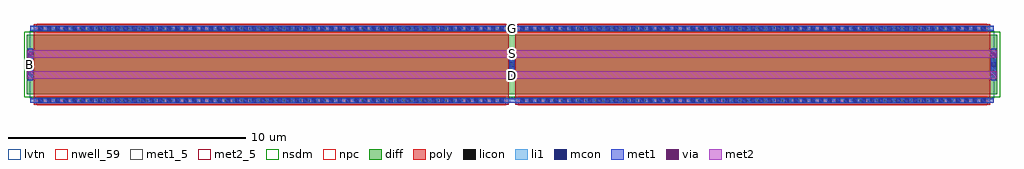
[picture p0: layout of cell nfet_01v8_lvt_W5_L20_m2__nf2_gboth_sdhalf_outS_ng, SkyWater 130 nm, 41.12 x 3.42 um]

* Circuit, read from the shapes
.subckt nfet_01v8_lvt_W5_L20_m2__nf2_gboth_sdhalf_outS_ng B D G S
XM1 D G S B sky130_fd_pr__nfet_01v8_lvt w=2.5 l=20 m=2
.ends

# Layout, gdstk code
import gdstk
lib = gdstk.Library(unit=1e-6, precision=1e-09)
def R(c, l, rs):  # rectangles x0, y0, x1, y1
    for r in rs: c.add(gdstk.rectangle(r[:2], r[2:], *l))
def A(c, l, x, y, w, h, nx, ny, dx, dy):  # array of equal rectangles
    R(c, l, [(x+i*dx, y+j*dy, x+i*dx+w, y+j*dy+h) for i in range(nx) for j in range(ny)])
nwell_59 = (64, 59)
diff = (65, 20)
poly = (66, 20)
licon = (66, 44)
li1 = (67, 20)
mcon = (67, 44)
met1_5 = (68, 5)
met1 = (68, 20)
via = (68, 44)
met2_5 = (69, 5)
met2 = (69, 20)
nsdm = (93, 44)
npc = (95, 20)
lvtn = (125, 44)

sky130_fd_pr__nfet_01v8_ = lib.new_cell('sky130_fd_pr__nfet_01v8_lvt_6WX86S')
R(sky130_fd_pr__nfet_01v8_, diff, [(-20.435,-1.25,20.435,1.25)])
R(sky130_fd_pr__nfet_01v8_, poly, [(-20.145,-1.69,-0.145,1.69), (0.145,-1.69,20.145,1.69)])
A(sky130_fd_pr__nfet_01v8_, licon, -19.92, -1.61, 0.17, 0.17, 58, 2, 0.34, 3.05)
A(sky130_fd_pr__nfet_01v8_, licon, 0.37, -1.61, 0.17, 0.17, 58, 2, 0.34, 3.05)
A(sky130_fd_pr__nfet_01v8_, licon, -20.375, -0.595, 0.17, 0.17, 3, 4, 20.29, 0.34)
A(sky130_fd_pr__nfet_01v8_, li1, -20.375, -0.675, 0.17, 1.35, 3, 1, 20.29, 0)
R(sky130_fd_pr__nfet_01v8_, li1, [(-20.29,-1.61,20.29,-1.44), (-20.29,1.44,20.29,1.61)])
A(sky130_fd_pr__nfet_01v8_, mcon, -19.95, -1.61, 0.17, 0.17, 55, 2, 0.36, 3.05)
A(sky130_fd_pr__nfet_01v8_, mcon, 0.34, -1.61, 0.17, 0.17, 55, 2, 0.36, 3.05)
A(sky130_fd_pr__nfet_01v8_, mcon, -20.375, -0.445, 0.17, 0.17, 3, 3, 20.29, 0.36)
A(sky130_fd_pr__nfet_01v8_, met1, -20.405, -0.655, 0.23, 1.31, 3, 1, 20.29, 0)
R(sky130_fd_pr__nfet_01v8_, met1, [(-20.125,-1.64,-0.165,-1.61), (0.165,-1.64,20.125,-1.61), (-20.29,-1.61,20.29,-1.44), (-20.125,-1.44,-0.165,-1.41), (0.165,-1.44,20.125,-1.41), (-20.125,1.41,-0.165,1.44), (0.165,1.41,20.125,1.44), (-20.29,1.44,20.29,1.61), (-20.125,1.61,-0.165,1.64), (0.165,1.61,20.125,1.64)])
R(sky130_fd_pr__nfet_01v8_, nsdm, [(-20.56,-1.375,20.56,1.375)])
R(sky130_fd_pr__nfet_01v8_, npc, [(-20.02,-1.71,-0.27,-1.34), (0.27,-1.71,20.02,-1.34), (-20.02,1.34,-0.27,1.71), (0.27,1.34,20.02,1.71)])
R(sky130_fd_pr__nfet_01v8_, lvtn, [(-20.325,-1.43,20.325,1.43)])
sky130_fd_pr__nfet_01v8_.add(gdstk.Label('D0', (-20.29,0), layer=67, texttype=5))
sky130_fd_pr__nfet_01v8_.add(gdstk.Label('G', (10.145,1.525), layer=67, texttype=5))
sky130_fd_pr__nfet_01v8_.add(gdstk.Label('G', (-10.145,1.525), layer=67, texttype=5))
sky130_fd_pr__nfet_01v8_.add(gdstk.Label('S1', (0,0), layer=67, texttype=5))

nfet_01v8_lvt_w5_l20_m2_ = lib.new_cell('nfet_01v8_lvt_W5_L20_m2__nf2_gboth_sdhalf_outS_ng')
R(nfet_01v8_lvt_w5_l20_m2_, nwell_59, [(0.05,1.64,0.15,1.74)])
R(nfet_01v8_lvt_w5_l20_m2_, met1_5, [(0.145,3.1,40.725,3.33)])
R(nfet_01v8_lvt_w5_l20_m2_, met1, [(20.305,1.085,20.565,1.405), (0.015,1.975,0.275,2.295), (40.595,1.975,40.855,2.295), (0.145,3.1,40.725,3.33)])
R(nfet_01v8_lvt_w5_l20_m2_, via, [(20.36,1.17,20.51,1.32), (0.07,2.06,0.22,2.21), (40.65,2.06,40.8,2.21)])
R(nfet_01v8_lvt_w5_l20_m2_, met2_5, [(0.01,1.085,40.86,1.405), (0.01,1.975,40.86,2.295)])
R(nfet_01v8_lvt_w5_l20_m2_, met2, [(0.01,1.085,40.86,1.405), (0.01,1.975,40.86,2.295)])
nfet_01v8_lvt_w5_l20_m2_.add(gdstk.Reference(sky130_fd_pr__nfet_01v8_, (20.435,1.69)))
nfet_01v8_lvt_w5_l20_m2_.add(gdstk.Label('S', (20.435,2.135), layer=69, texttype=5))
nfet_01v8_lvt_w5_l20_m2_.add(gdstk.Label('D', (20.435,1.245), layer=69, texttype=5))
nfet_01v8_lvt_w5_l20_m2_.add(gdstk.Label('G', (20.435,3.215), layer=68, texttype=5))
nfet_01v8_lvt_w5_l20_m2_.add(gdstk.Label('B', (0.1,1.69), layer=64, texttype=59))

lib.write_gds('nfet_01v8_lvt_W5_L20_m2__nf2_gboth_sdhalf_outS_ng.gds')
